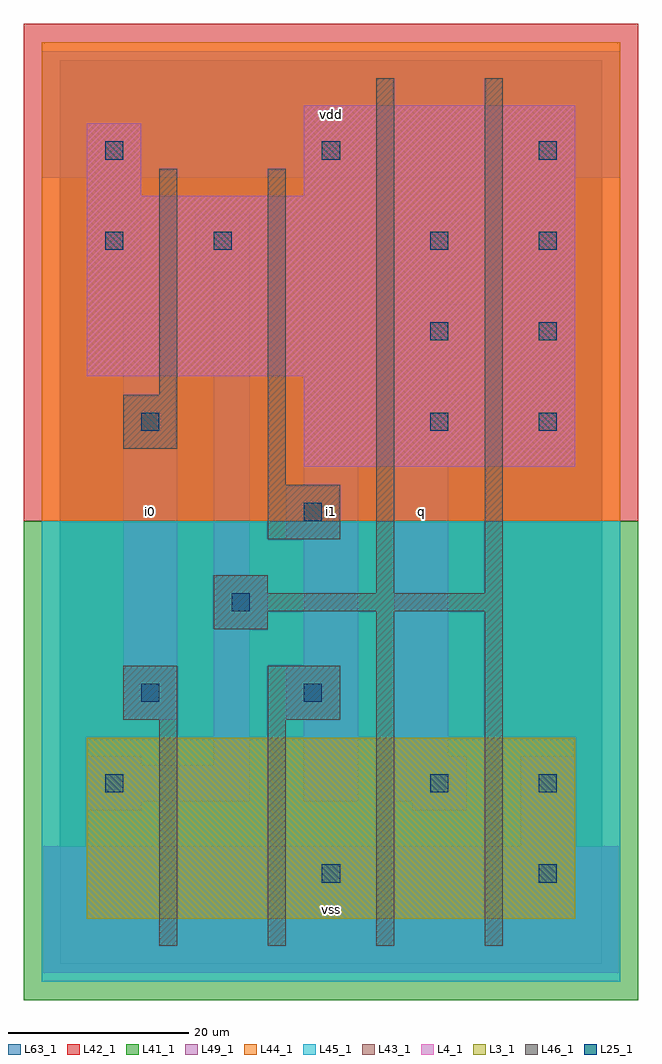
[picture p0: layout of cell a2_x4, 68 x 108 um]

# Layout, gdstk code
import gdstk
lib = gdstk.Library(unit=1e-6, precision=1e-09)
def R(c, l, rs):  # rectangles x0, y0, x1, y1
    for r in rs: c.add(gdstk.rectangle(r[:2], r[2:], *l))
def A(c, l, x, y, w, h, nx, ny, dx, dy):  # array of equal rectangles
    R(c, l, [(x+i*dx, y+j*dy, x+i*dx+w, y+j*dy+h) for i in range(nx) for j in range(ny)])
L3_1 = (3, 1)
L4_1 = (4, 1)
L25_1 = (25, 1)
L41_1 = (41, 1)
L42_1 = (42, 1)
L43_1 = (43, 1)
L44_1 = (44, 1)
L45_1 = (45, 1)
L46_1 = (46, 1)
L49_1 = (49, 1)
L63_1 = (63, 1)

a2_x4 = lib.new_cell('a2_x4')
R(a2_x4, L3_1, [(3,5,57,25)])
R(a2_x4, L4_1, [(27,55,57,65), (3,65,57,85), (3,85,9,93), (27,85,57,95)])
A(a2_x4, L25_1, 41, 59, 2, 2, 1, 3, 0, 10)
A(a2_x4, L25_1, 53, 59, 2, 2, 1, 3, 0, 10)
A(a2_x4, L25_1, 5, 89, 2, 2, 3, 1, 24, 0)
R(a2_x4, L25_1, [(29,9,31,11), (53,9,55,11), (5,19,7,21), (41,19,43,21), (53,19,55,21), (9,29,11,31), (27,29,29,31), (19,39,21,41), (27,49,29,51), (9,59,11,61), (5,79,7,81), (17,79,19,81)])
R(a2_x4, L41_1, [(-4,-4,64,49)])
R(a2_x4, L42_1, [(-4,49,64,104)])
R(a2_x4, L43_1, [(3,5,57,25), (27,55,57,65), (3,65,57,85), (3,85,9,93), (27,85,57,95)])
R(a2_x4, L44_1, [(-2,49,62,102)])
R(a2_x4, L45_1, [(-2,-2,62,49)])
R(a2_x4, L46_1, [(11,2,13,27), (23,2,25,27), (35,2,37,39), (47,2,49,39), (7,27,13,33), (23,27,31,33), (17,37,23,39), (17,39,49,41), (17,41,23,43), (35,41,37,98), (47,41,49,98), (23,47,31,53), (23,53,25,88), (7,57,13,63), (11,63,13,88)])
R(a2_x4, L49_1, [(-2,-1,62,13), (51,13,57,23), (3,17,9,18), (39,17,45,18), (3,18,21,22), (27,18,33,27), (37,18,45,23), (3,22,9,23), (17,22,21,37), (37,23,43,57), (7,27,13,72), (25,27,33,33), (27,33,33,47), (17,37,23,43), (17,43,21,77), (25,47,33,53), (27,53,33,82), (37,57,45,63), (51,57,57,87), (37,63,43,67), (37,67,45,73), (37,73,43,77), (3,77,9,87), (15,77,21,83), (37,77,45,82), (39,82,45,83), (-2,87,62,101)])
R(a2_x4, L63_1, [(0,0,60,100)])
a2_x4.add(gdstk.Label('i0', (10,50), layer=49, texttype=1))
a2_x4.add(gdstk.Label('i0', (10,50), layer=49, texttype=1))
a2_x4.add(gdstk.Label('vss', (30,6), layer=49, texttype=1))
a2_x4.add(gdstk.Label('vss', (30,6), layer=49, texttype=1))
a2_x4.add(gdstk.Label('q', (40,50), layer=49, texttype=1))
a2_x4.add(gdstk.Label('q', (40,50), layer=49, texttype=1))
a2_x4.add(gdstk.Label('i1', (30,50), layer=49, texttype=1))
a2_x4.add(gdstk.Label('i1', (30,50), layer=49, texttype=1))
a2_x4.add(gdstk.Label('vdd', (30,94), layer=49, texttype=1))
a2_x4.add(gdstk.Label('vdd', (30,94), layer=49, texttype=1))

lib.write_gds('a2_x4.gds')
